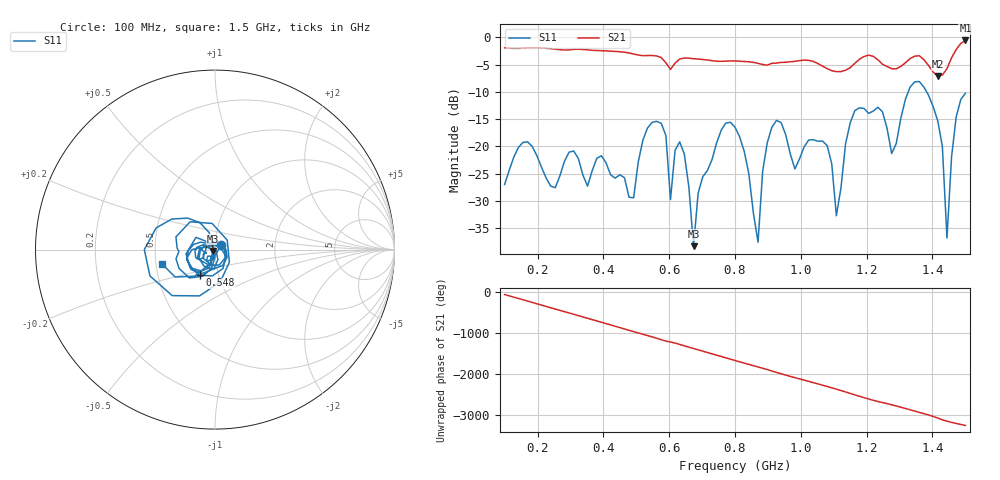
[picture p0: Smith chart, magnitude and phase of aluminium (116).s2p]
! NanoVNA-App
! Date: 2025-09-26 09:58:57
! Start: 100MHz Stop: 1,5GHz Points: 101
! S-Parameter data: F S11 S21 S12 S22
# Hz S RI R 50
!  Frequency  S11_Real  S11_Imag  S21_Real  S21_Imag  S12_Real  S12_Imag  S22_Real  S22_Imag
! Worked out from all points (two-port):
!   101 points, 100 MHz to 1.5 GHz, reference 50 ohm
!   highest |S21| = -0.57 dB at 1.5 GHz (marker M1); lowest = -7.1 dB at 1.416 GHz (marker M2)
!   |S21| within 3 dB of the highest: start of sweep to 569.4 MHz; 1.19 GHz to 1.222 GHz (31.73 MHz wide, 2.63 % of centre) (the widest 2 of 4)
!   lowest |S11| = -38.3 dB at 674 MHz (marker M3), VSWR 1.02, Z = 49 - j0.746 ohm
!   |S11| at or under -10 dB: start of sweep to 1.326 GHz; 1.382 GHz to end of sweep
!   S12 and S22 are empty: the file has one direction only
!   S11 on the Smith chart (normalised r, x): 100 MHz: 1.07, +0.06; 548 MHz: 0.81, -0.24; 1.5 GHz: 0.54, -0.09
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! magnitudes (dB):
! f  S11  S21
! 100 MHz  -27.0  -1.9
! 156 MHz  -19.2  -2.0
! 338 MHz  -25.3  -2.2
! 492 MHz  -29.4  -3.1
! 548 MHz  -15.6  -3.3
! 576 MHz  -15.8  -3.7
! 604 MHz  -29.7  -5.9
! 646 MHz  -21.4  -3.8
! 674 MHz  -38.3  -3.9
! 702 MHz  -25.6  -4.1
! 800 MHz  -16.5  -4.3
! 870 MHz  -37.5  -4.8
! 912 MHz  -16.5  -4.8
! 1.038 GHz  -18.8  -4.4
! 1.108 GHz  -32.7  -6.3
! 1.164 GHz  -13.4  -4.8
! 1.276 GHz  -21.3  -5.7
! 1.346 GHz  -8.2  -3.5
! 1.416 GHz  -15.3  -7.1
! 1.444 GHz  -36.8  -5.8
! 1.472 GHz  -14.6  -2.2
! 1.5 GHz  -10.3  -0.6
